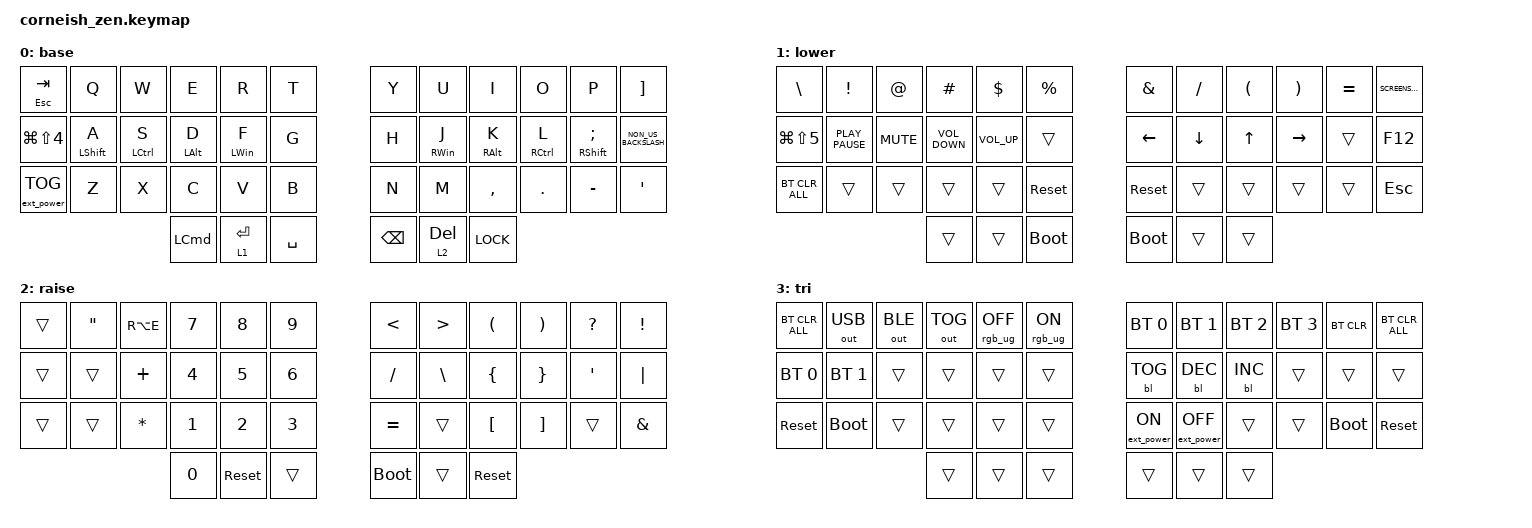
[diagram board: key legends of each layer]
#include <behaviors.dtsi>
#include <dt-bindings/zmk/backlight.h>
#include <dt-bindings/zmk/bt.h>
#include <dt-bindings/zmk/ext_power.h>
#include <dt-bindings/zmk/keys.h>
#include <dt-bindings/zmk/outputs.h>
#include <dt-bindings/zmk/rgb.h>

/ {
    behaviors {
        hml: homewrow_mods_left {
            compatible = "zmk,behavior-hold-tap";
            label = "HOMEROW_MODS_LEFT_HAND";
            bindings = <&kp>, <&kp>;

            #binding-cells = <2>;
            tapping-term-ms = <200>;
            hold-trigger-key-positions = <19 6 18 30 39 40 41 7 8 9 10 11 19 20 21 22 23 31 32 33 34 35>;
        };

        hmr: homewrow_mods_right {
            compatible = "zmk,behavior-hold-tap";
            label = "HOMEROW_MODS_RIGHT_HAND";
            bindings = <&kp>, <&kp>;

            #binding-cells = <2>;
            tapping-term-ms = <200>;
            hold-trigger-key-positions = <0 1 2 3 4 5 12 13 14 15 16 17 24 25 26 27 28 29 36 37 38>;
        };
    };

    keymap {
        compatible = "zmk,keymap";

        base {
            bindings = <
&mt ESCAPE TAB        &kp Q              &kp W                &kp E             &kp R            &kp T        &kp Y     &kp U             &kp I             &kp O                 &kp P                  &kp RIGHT_BRACKET
&kp LG(LS(NUMBER_4))  &hml LEFT_SHIFT A  &hml LEFT_CONTROL S  &hml LEFT_ALT D   &hml LEFT_WIN F  &kp G        &kp H     &hmr RIGHT_WIN J  &hmr RIGHT_ALT K  &hmr RIGHT_CONTROL L  &hmr RIGHT_SHIFT SEMI  &kp NON_US_BACKSLASH
&ext_power EP_TOG     &kp Z              &kp X                &kp C             &kp V            &kp B        &kp N     &kp M             &kp COMMA         &kp DOT               &kp MINUS              &kp SQT
                                                              &kp LEFT_COMMAND  &lt 1 ENTER      &kp SPACE    &kp BSPC  &lt 2 DELETE      &kp K_LOCK
            >;
        };

        lower {
            bindings = <
&kp BACKSLASH         &kp EXCLAMATION   &kp AT_SIGN  &kp POUND          &kp DOLLAR       &kp PERCENT    &kp AMPERSAND   &kp SLASH       &kp LEFT_PARENTHESIS  &kp RIGHT_PARENTHESIS  &kp EQUAL  &kp K_SCREENSAVER
&kp LG(LS(NUMBER_5))  &kp K_PLAY_PAUSE  &kp K_MUTE   &kp C_VOLUME_DOWN  &kp C_VOLUME_UP  &trans         &kp LEFT_ARROW  &kp DOWN_ARROW  &kp UP_ARROW          &kp RIGHT_ARROW        &trans     &kp F12
&bt BT_CLR_ALL        &trans            &trans       &trans             &trans           &sys_reset     &sys_reset      &trans          &trans                &trans                 &trans     &kp ESCAPE
                                                     &trans             &trans           &bootloader    &bootloader     &trans          &trans
            >;
        };

        raise {
            bindings = <
&trans  &kp DOUBLE_QUOTES  &kp RA(E)  &kp NUMBER_7  &kp NUMBER_8  &kp NUMBER_9    &kp LESS_THAN  &kp GREATER_THAN  &kp LEFT_PARENTHESIS  &kp RIGHT_PARENTHESIS  &kp QUESTION      &kp EXCLAMATION
&trans  &trans             &kp PLUS   &kp NUMBER_4  &kp NUMBER_5  &kp NUMBER_6    &kp FSLH       &kp BACKSLASH     &kp LEFT_BRACE        &kp RIGHT_BRACE        &kp SINGLE_QUOTE  &kp PIPE
&trans  &trans             &kp ASTRK  &kp NUMBER_1  &kp NUMBER_2  &kp NUMBER_3    &kp EQUAL      &trans            &kp LEFT_BRACKET      &kp RIGHT_BRACKET      &trans            &kp AMPERSAND
                                      &kp NUMBER_0  &sys_reset    &trans          &bootloader    &trans            &sys_reset
            >;
        };

        tri {
            bindings = <
&bt BT_CLR_ALL  &out OUT_USB  &out OUT_BLE  &out OUT_TOG  &rgb_ug RGB_OFF  &rgb_ug RGB_ON    &bt BT_SEL 0      &bt BT_SEL 1       &bt BT_SEL 2  &bt BT_SEL 3  &bt BT_CLR   &bt BT_CLR_ALL
&bt BT_SEL 0    &bt BT_SEL 1  &trans        &trans        &trans           &trans            &bl BL_TOG        &bl BL_DEC         &bl BL_INC    &trans        &trans       &trans
&sys_reset      &bootloader   &trans        &trans        &trans           &trans            &ext_power EP_ON  &ext_power EP_OFF  &trans        &trans        &bootloader  &sys_reset
                                            &trans        &trans           &trans            &trans            &trans             &trans
            >;
        };
    };

    conditional_layers {
        compatible = "zmk,conditional-layers";

        tri {
            if-layers = <1 2>;
            then-layer = <3>;
        };
    };
};
